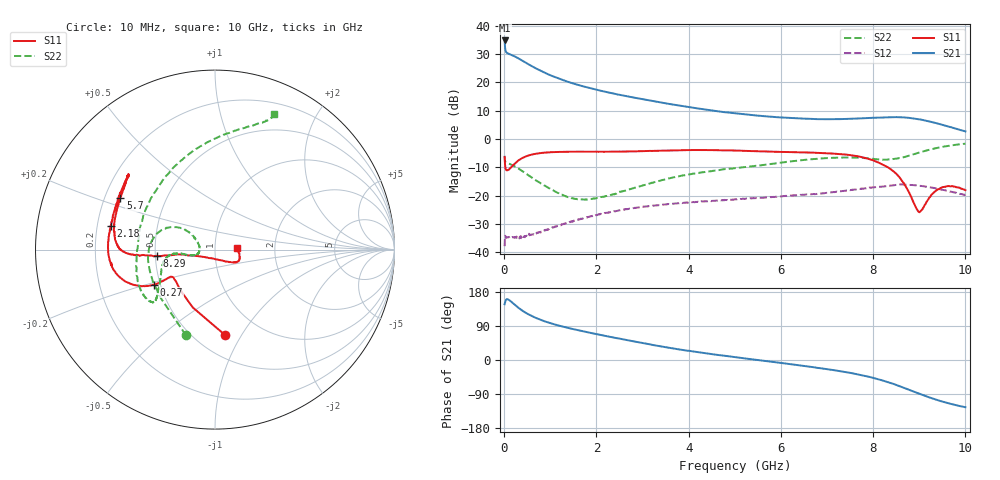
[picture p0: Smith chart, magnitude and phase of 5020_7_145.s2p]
# Hz S  dB  R 50
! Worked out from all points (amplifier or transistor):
!   1000 points, 10 MHz to 10 GHz, reference 50 ohm
!   highest |S21| = 34.8 dB at 10 MHz (marker M1)
!   |S21| within 3 dB of that: start of sweep to 24.65 MHz
!   unconditionally stable (mu >= 1): 52.73 MHz to end of sweep
!   at 1.67 GHz: K = 1.14, MAG = 21.2 dB, |S12| = -28.2 dB
!   at 5.01 GHz: K = 1.10, MAG = 13.3 dB, |S12| = -21.3 dB
!   at 10 GHz: K = 1.14, MAG = 9.0 dB, |S12| = -19.8 dB
!   S11 on the Smith chart (normalised r, x): 10 MHz: 0.69, -0.85; 270 MHz: 0.46, -0.21; 2.18 GHz: 0.26, +0.11; 5.7 GHz: 0.26, +0.24; 8.29 GHz: 0.51, -0.04; 10 GHz: 1.28, +0.02
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1e7  -6.42 -83.5  34.84 147.2  -37.89 33.5  -5.94 -108.6
7e7  -11.10 -145.9  30.37 160.4  -34.79 7.4  -8.52 -174.3
8e7  -11.02 -147.2  30.27 160.0  -34.81 5.4  -8.62 -176.9
1.1e8  -10.70 -148.7  30.06 158.0  -34.76 8.8  -8.76 177.1
2.1e8  -9.01 -149.2  29.36 147.9  -34.82 10.3  -9.49 164.6
2.7e8  -8.12 -150.3  28.86 141.7  -34.48 10.8  -10.07 159.5
3.7e8  -6.95 -153.2  27.92 132.4  -35.07 15.7  -11.08 153.6
5.1e8  -5.92 -157.6  26.58 121.6  -34.17 21.6  -12.65 148.4
6.3e8  -5.38 -161.5  25.47 114.1  -33.78 28.3  -13.96 146.3
7.8e8  -5.00 -165.7  24.20 106.4  -32.92 31.9  -15.52 146.5
9.6e8  -4.73 -170.0  22.84 98.8  -31.88 38.9  -17.28 149.0
1.15e9  -4.59 -174.0  21.56 92.0  -30.78 40.8  -18.98 154.4
1.68e9  -4.47 176.3  18.77 76.6  -28.30 42.6  -21.35 176.4
2.18e9  -4.51 167.1  16.75 63.9  -26.15 40.1  -20.41 -166.5
3.34e9  -4.16 146.3  13.06 37.1  -23.45 27.3  -14.91 -172.3
5.01e9  -4.07 142.2  9.08 7.5  -21.30 9.9  -10.31 -163.5
5.7e9  -4.43 151.3  7.98 -3.3  -20.66 3.4  -9.03 -150.2
6.67e9  -4.81 168.6  7.10 -18.4  -19.53 -7.1  -7.16 -139.3
8.29e9  -9.74 -173.7  7.65 -57.0  -16.68 -38.7  -7.32 168.4
8.34e9  -10.23 -173.3  7.68 -58.9  -16.54 -40.0  -7.21 163.9
8.99e9  -25.71 -108.5  6.99 -88.6  -16.51 -67.5  -4.84 100.1
1e10  -18.10 3.2  2.70 -124.7  -19.78 -101.0  -1.65 66.4
